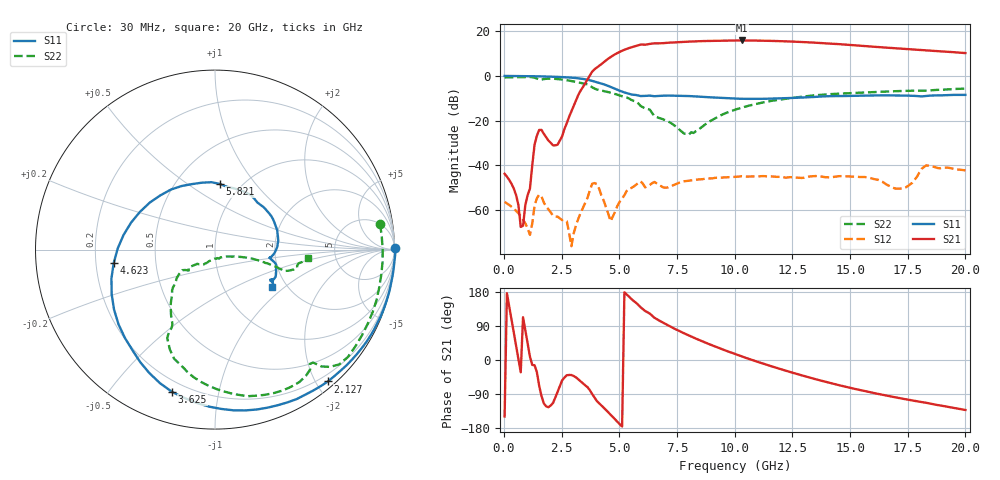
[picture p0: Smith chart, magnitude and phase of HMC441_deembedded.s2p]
!Hittite Microwave Corporation
!12 Elizabeth Drive
!Chelmsford, MA 01824
!Tel: 978-250-3343
!Fax: 978-250-3373
!Device: HMC441, 6-18 GHz GaAs PHEMT MMIc Medium Power Amplifier
!Misc: Vdd1 = Vdd2 = +5V, Vgg1 = vgg2 = Open, Room
# MHZ S MA R 50
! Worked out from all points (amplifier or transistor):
!   201 points, 30 MHz to 20 GHz, reference 50 ohm
!   highest |S21| = 15.9 dB at 10.31 GHz (marker M1)
!   |S21| within 3 dB of that: 5.548 GHz to 16.28 GHz (10.73 GHz wide, 98.3 % of centre)
!   unconditionally stable (mu >= 1): 523.3 MHz to end of sweep
!   at 3.325 GHz: K = 146.62, MAG = 2.7 dB, |S12| = -61.4 dB
!   at 10.02 GHz: K = 12.72, MAG = 16.5 dB, |S12| = -45.2 dB
!   at 20 GHz: K = 12.53, MAG = 12.3 dB, |S12| = -42.3 dB
!   S11 on the Smith chart (normalised r, x): 30 MHz: open; 2.127 GHz: 0.10, -2.17; 3.625 GHz: 0.15, -0.73; 4.623 GHz: 0.28, -0.06; 5.821 GHz: 0.80, +0.68; 20 GHz: 1.67, -0.81
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30  1.005 0.4  0.006442 -149.1  0.001517 123.2  0.931 8.8
828.8  0.997 -17.7  0.0004422 112.9  0.0006137 -99.8  0.946 -25.9
1128.35  0.993 -24.4  0.003009 8.8  0.0002753 176.7  0.952 -38.9
1427.9  0.988 -31.4  0.046 -31.8  0.001827 95.0  0.88 -47.7
2126.85  0.967 -49.4  0.028 -113.5  0.0007398 -36.0  0.871 -64.3
2925.65  0.921 -75.3  0.162 -39.6  0.0001542 -153.6  0.776 -89.6
3424.9  0.861 -96.6  0.567 -61.9  0.001118 33.8  0.684 -104.5
3624.6  0.828 -106.8  0.831 -71.7  0.001883 19.5  0.649 -110.6
4024  0.726 -129.1  1.545 -107.9  0.003805 -91.9  0.5 -119.0
4623.1  0.57 -172.3  2.66 -144.4  0.0005595 107.6  0.422 -125.6
5222.2  0.429 135.2  3.881 178.7  0.002146 -20.3  0.341 -134.5
5821.3  0.367 85.9  4.886 145.5  0.003994 -67.3  0.244 -145.5
6719.95  0.36 40.7  5.404 104.4  0.003659 -114.7  0.115 -133.8
8117.85  0.353 6.5  5.933 61.9  0.004574 -125.3  0.055 -66.1
9116.35  0.329 -4.0  6.169 36.4  0.005201 -140.3  0.11 -20.3
10015  0.312 -8.0  6.261 15.8  0.00551 -150.3  0.176 -14.6
10314.55  0.309 -8.3  6.267 9.2  0.005687 -152.3  0.196 -13.9
11512.75  0.31 -9.0  6.153 -15.1  0.005633 -161.5  0.273 -14.4
13409.9  0.339 -12.1  5.614 -49.0  0.00571 -162.3  0.368 -16.2
15007.5  0.359 -18.6  4.973 -73.7  0.005591 -164.4  0.413 -16.8
16704.95  0.369 -25.2  4.28 -95.4  0.003444 -164.0  0.453 -14.2
20000  0.378 -33.4  3.269 -131.9  0.007689 -140.2  0.522 -4.9
